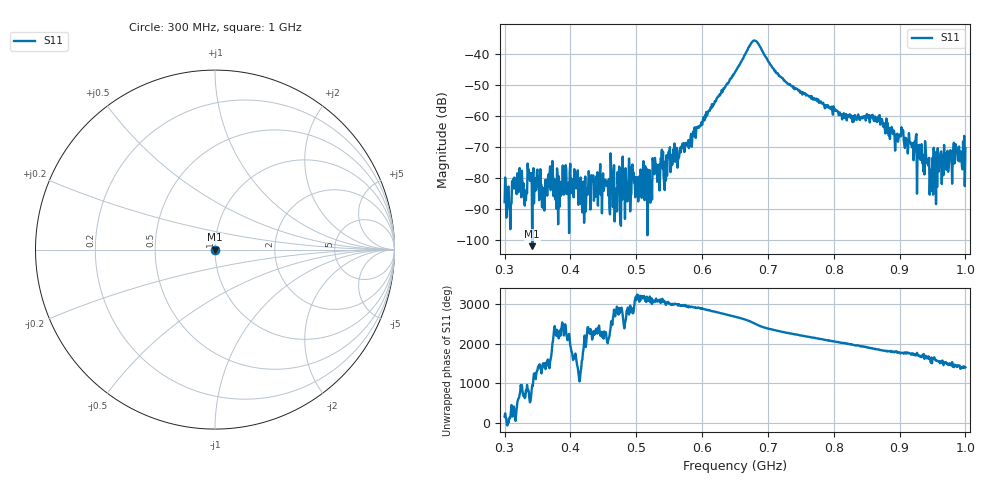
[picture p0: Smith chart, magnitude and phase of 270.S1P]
! C:\Users\rflab\Downloads\q2\270.S1P
! Touchstone 1.1 file saved by VNA.EXE V1.65 (www.ke5fx.com/gpib/readme.htm)
! 11/20/2024 11:15:24 AM
!  Source: HEWLETT PACKARD,8753D,0,6.14
!  Min freq: 3.000000E+008 Hz
!  Max freq: 1.000000E+009 Hz
!  Points: 801
!  Params: S21
# GHZ S MA R 50
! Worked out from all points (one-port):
!   801 points, 300 MHz to 1 GHz, reference 50 ohm
!   lowest |S11| = -101.9 dB at 342 MHz (marker M1), VSWR 1.00, Z = 50 - j0.000672 ohm
!   |S11| at or under -10 dB: start of sweep to end of sweep
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0.3  4.1e-05 170.8
0.342  8e-06 -122.9
0.3875  6.7e-05 15.3
0.475  3.2e-05 -109.7
0.4925  5.5e-05 -93.7
0.500375  0.000102 -142.2
0.512625  4.4e-05 -62.7
0.5205  0.000134 -54.2
0.5275  0.000115 179.2
0.54325  6.4e-05 179.9
0.547625  0.000205 139.3
0.5625  0.000147 99.4
0.65  0.00506 157.3
0.680625  0.01627 -21.2
0.710375  0.00522 178.7
0.7375  0.003015 89.8
0.825  0.001044 -173.0
0.8705  0.000725 41.2
0.895875  0.000428 1.7
0.902  0.000468 -42.7
0.9125  0.000248 -40.1
0.94225  0.00017 -143.4
0.9475  6.1e-05 85.5
0.95975  0.000128 125.7
0.97725  0.000281 20.8
0.98425  0.00032 -5.7
0.992125  0.0002 -67.2
1  0.000303 -33.3
